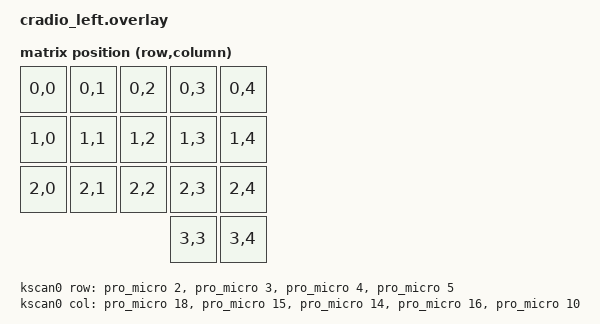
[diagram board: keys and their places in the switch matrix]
/*
 * Copyright (c) 2020 The ZMK Contributors
 *
 * SPDX-License-Identifier: MIT
 */

#include <dt-bindings/zmk/matrix_transform.h>

/ {
    chosen {
        zmk,kscan = &kscan0;
    };

    default_transform: keymap_transform_0 {
        compatible = "zmk,matrix-transform";
        columns = <5>;
        rows = <4>;
        map = <
        RC(0,0)  RC(0,1)  RC(0,2)  RC(0,3)  RC(0,4)
        RC(1,0)  RC(1,1)  RC(1,2)  RC(1,3)  RC(1,4)
        RC(2,0)  RC(2,1)  RC(2,2)  RC(2,3)  RC(2,4)
                                   RC(3,3)  RC(3,4)
        >;
    };
};

/delete-node/ &kscan0;

/ {
    kscan0: kscan {
        compatible = "zmk,kscan-gpio-matrix";
        wakeup-source;
        diode-direction = "col2row";

        row-gpios
            = <&pro_micro 2 (GPIO_ACTIVE_HIGH | GPIO_PULL_DOWN)>  // Row 0
            , <&pro_micro 3 (GPIO_ACTIVE_HIGH | GPIO_PULL_DOWN)>  // Row 1
            , <&pro_micro 4 (GPIO_ACTIVE_HIGH | GPIO_PULL_DOWN)>  // Row 2
            , <&pro_micro 5 (GPIO_ACTIVE_HIGH | GPIO_PULL_DOWN)>  // Row 3
            ;

        col-gpios
            = <&pro_micro 18 GPIO_ACTIVE_HIGH>  // Col 0
            , <&pro_micro 15 GPIO_ACTIVE_HIGH>  // Col 1
            , <&pro_micro 14 GPIO_ACTIVE_HIGH>  // Col 2
            , <&pro_micro 16 GPIO_ACTIVE_HIGH>  // Col 3
            , <&pro_micro 10 GPIO_ACTIVE_HIGH>  // Col 4
            ;
    };
};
